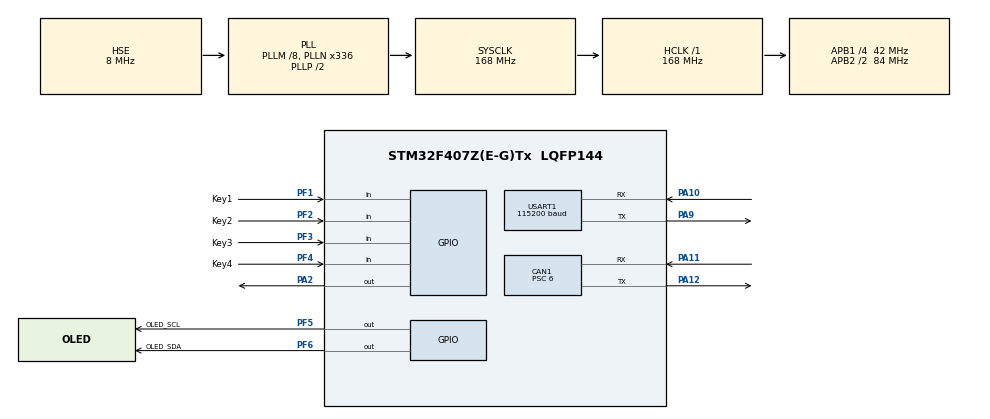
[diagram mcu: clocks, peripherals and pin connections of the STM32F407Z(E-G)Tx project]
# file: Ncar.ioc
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CAN1.ABOM=ENABLE
CAN1.BS1=CAN_BS1_11TQ
CAN1.BS2=CAN_BS2_2TQ
CAN1.CalculateBaudRate=500000
CAN1.CalculateTimeBit=2000
CAN1.CalculateTimeQuantum=142.85714285714286
CAN1.Mode=CAN_MODE_NORMAL
CAN1.NART=ENABLE
CAN1.Prescaler=6
FREERTOS.Mutexes01=FlashMutex,Dynamic,NULL
FREERTOS.Tasks01=CanRxTask,32,256,StartCanRxTask,Default,NULL,Dynamic,NULL,NULL;CanProcessTask,24,256,StartCanProcessTask,Default,NULL,Dynamic,NULL,NULL;CanTxTask,16,256,StartCanTxTask,Default,NULL,Dynamic,NULL,NULL;UartRxTask,16,256,StartUartRxTask,Default,NULL,Dynamic,NULL,NULL
Mcu.Family=STM32F4
Mcu.Name=STM32F407Z(E-G)Tx
Mcu.Package=LQFP144
NVIC.CAN1_RX0_IRQn=true\:5\:0\:false\:false\:true\:true\:true\:true\:true
NVIC.PriorityGroup=NVIC_PRIORITYGROUP_4
NVIC.TIM1_UP_TIM10_IRQn=true\:15\:0\:false\:false\:true\:false\:false\:true\:true
NVIC.TimeBase=TIM1_UP_TIM10_IRQn
NVIC.TimeBaseIP=TIM1
NVIC.USART1_IRQn=true\:5\:0\:false\:false\:true\:true\:true\:true\:true
PA10.Mode=Asynchronous
PA10.Signal=USART1_RX
PA11.GPIO_PuPd=GPIO_PULLUP
PA11.Mode=CAN_Activate
PA11.Signal=CAN1_RX
PA12.Mode=CAN_Activate
PA12.Signal=CAN1_TX
PA13.Mode=Serial_Wire
PA13.Signal=SYS_JTMS-SWDIO
PA14.Mode=Serial_Wire
PA14.Signal=SYS_JTCK-SWCLK
PA2.GPIO_PuPd=GPIO_PULLDOWN
PA2.GPIO_Speed=GPIO_SPEED_FREQ_HIGH
PA2.Signal=GPIO_Output
PA9.Mode=Asynchronous
PA9.Signal=USART1_TX
PF1.GPIO_Label=Key1
PF1.GPIO_PuPd=GPIO_PULLUP
PF1.Signal=GPIO_Input
PF2.GPIO_Label=Key2
PF2.GPIO_PuPd=GPIO_PULLUP
PF2.Signal=GPIO_Input
PF3.GPIO_Label=Key3
PF3.GPIO_PuPd=GPIO_PULLUP
PF3.Signal=GPIO_Input
PF4.GPIO_Label=Key4
PF4.GPIO_PuPd=GPIO_PULLUP
PF4.Signal=GPIO_Input
PF5.GPIO_Label=OLED_SCL
PF5.Signal=GPIO_Output
PF6.GPIO_Label=OLED_SDA
PF6.Signal=GPIO_Output
PH0-OSC_IN.Mode=HSE-External-Oscillator
PH0-OSC_IN.Signal=RCC_OSC_IN
PH1-OSC_OUT.Mode=HSE-External-Oscillator
PH1-OSC_OUT.Signal=RCC_OSC_OUT
ProjectManager.HeapSize=0x200
ProjectManager.StackSize=0x400
ProjectManager.TargetToolchain=MDK-ARM V5.32
RCC.48MHZClocksFreq_Value=84000000
RCC.AHBFreq_Value=168000000
RCC.APB1CLKDivider=RCC_HCLK_DIV4
RCC.APB1Freq_Value=42000000
RCC.APB1TimFreq_Value=84000000
RCC.APB2CLKDivider=RCC_HCLK_DIV2
RCC.APB2Freq_Value=84000000
RCC.APB2TimFreq_Value=168000000
RCC.CortexFreq_Value=168000000
RCC.HCLKFreq_Value=168000000
RCC.HSE_VALUE=8000000
RCC.HSI_VALUE=16000000
RCC.LSE_VALUE=32768
RCC.PLLM=8
RCC.PLLN=336
RCC.PLLSourceVirtual=RCC_PLLSOURCE_HSE
RCC.SYSCLKFreq_VALUE=168000000
RCC.SYSCLKSource=RCC_SYSCLKSOURCE_PLLCLK
RCC.VCOOutputFreq_Value=336000000
USART1.BaudRate=115200
USART1.VirtualMode=VM_ASYNC
VP_FREERTOS_VS_CMSIS_V2.Mode=CMSIS_V2
VP_SYS_VS_tim1.Mode=TIM1
board=custom

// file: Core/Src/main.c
/* USER CODE BEGIN Header */
/**
  ******************************************************************************
  * @file           : main.c
  * @brief          : Main program body
  ******************************************************************************
  * @attention
  *
  * Copyright (c) 2026 STMicroelectronics.
  * All rights reserved.
  *
  * This software is licensed under terms that can be found in the LICENSE file
  * in the root directory of this software component.
  * If no LICENSE file comes with this software, it is provided AS-IS.
  *
  ******************************************************************************
  */
/* USER CODE END Header */
#include "main.h"
#include "cmsis_os.h"
#include "can.h"
#include "usart.h"
#include "gpio.h"

/* USER CODE BEGIN Includes */

#include "cmsis_os.h"              /* ★ CMSIS-RTOS2 的队列 API */
#include <string.h>                /* ★ memcpy */

extern osMessageQueueId_t CanRxQueueHandle;   /* ★ 队列句柄(在 freertos.c 里定义) */

/* USER CODE END Includes */

void SystemClock_Config(void);
void MX_FREERTOS_Init(void);

int main(void)
{

  /* MCU Configuration--------------------------------------------------------*/

  /* Reset of all peripherals, Initializes the Flash interface and the Systick. */
  HAL_Init();

  /* Configure the system clock */
  SystemClock_Config();

  /* Initialize all configured peripherals */
  MX_GPIO_Init();
  MX_CAN1_Init();
  MX_USART1_UART_Init();
  /* USER CODE BEGIN 2 */

	/* ★★★ 自己建 CAN 接收队列 (不用 CubeMX 生成的, 免得被 Generate 覆盖) */
	osMessageQueueId_t CanRxQueueHandle = NULL;

	static const osMessageQueueAttr_t CanRxQueue_attr = {
		.name = "CanRxQueue"
	};
	CanRxQueueHandle = osMessageQueueNew(16,              /* 16 条 */
										 sizeof(CanFrame_t),  /* ★ 每条 16 字节 ? */
										 &CanRxQueue_attr);
	if (CanRxQueueHandle == NULL)
	{
		Error_Handler();      /* 建队列失败 */
	}

  /* USER CODE END 2 */

  /* Init scheduler */
  osKernelInitialize();

  /* Call init function for freertos objects (in cmsis_os2.c) */
  MX_FREERTOS_Init();

  /* Start scheduler */
  osKernelStart();

  /* We should never get here as control is now taken by the scheduler */

  /* Infinite loop */
  while (1)
  {

  }
}

void SystemClock_Config(void)
{
  RCC_OscInitTypeDef RCC_OscInitStruct = {0};
  RCC_ClkInitTypeDef RCC_ClkInitStruct = {0};

  /** Configure the main internal regulator output voltage
  */
  __HAL_RCC_PWR_CLK_ENABLE();
  __HAL_PWR_VOLTAGESCALING_CONFIG(PWR_REGULATOR_VOLTAGE_SCALE1);

  /** Initializes the RCC Oscillators according to the specified parameters
  * in the RCC_OscInitTypeDef structure.
  */
  RCC_OscInitStruct.OscillatorType = RCC_OSCILLATORTYPE_HSE;
  RCC_OscInitStruct.HSEState = RCC_HSE_ON;
  RCC_OscInitStruct.PLL.PLLState = RCC_PLL_ON;
  RCC_OscInitStruct.PLL.PLLSource = RCC_PLLSOURCE_HSE;
  RCC_OscInitStruct.PLL.PLLM = 8;
  RCC_OscInitStruct.PLL.PLLN = 336;
  RCC_OscInitStruct.PLL.PLLP = RCC_PLLP_DIV2;
  RCC_OscInitStruct.PLL.PLLQ = 4;
  if (HAL_RCC_OscConfig(&RCC_OscInitStruct) != HAL_OK)
  {
    Error_Handler();
  }

  /** Initializes the CPU, AHB and APB buses clocks
  */
  RCC_ClkInitStruct.ClockType = RCC_CLOCKTYPE_HCLK|RCC_CLOCKTYPE_SYSCLK
                              |RCC_CLOCKTYPE_PCLK1|RCC_CLOCKTYPE_PCLK2;
  RCC_ClkInitStruct.SYSCLKSource = RCC_SYSCLKSOURCE_PLLCLK;
  RCC_ClkInitStruct.AHBCLKDivider = RCC_SYSCLK_DIV1;
  RCC_ClkInitStruct.APB1CLKDivider = RCC_HCLK_DIV4;
  RCC_ClkInitStruct.APB2CLKDivider = RCC_HCLK_DIV2;

  if (HAL_RCC_ClockConfig(&RCC_ClkInitStruct, FLASH_LATENCY_5) != HAL_OK)
  {
    Error_Handler();
  }
}

void HAL_TIM_PeriodElapsedCallback(TIM_HandleTypeDef *htim)
{
  if (htim->Instance == TIM1) {
    HAL_IncTick();
  }
}

void Error_Handler(void)
{
  __disable_irq();
  while (1)
  {
  }
}

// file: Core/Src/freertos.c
/* USER CODE BEGIN Header */
/**
  ******************************************************************************
  * File Name          : freertos.c
  * Description        : Code for freertos applications
  ******************************************************************************
  * @attention
  *
  * Copyright (c) 2026 STMicroelectronics.
  * All rights reserved.
  *
  * This software is licensed under terms that can be found in the LICENSE file
  * in the root directory of this software component.
  * If no LICENSE file comes with this software, it is provided AS-IS.
  *
  ******************************************************************************
  */
/* USER CODE END Header */

#include "FreeRTOS.h"
#include "task.h"
#include "main.h"
#include "cmsis_os.h"

/* USER CODE BEGIN Includes */
#include "can.h"        /* ★ 提供 hcan1 的声明 */
#include "MYUSART.h"    /* ★ 提供 Serial_Printf —— ★ 函数名按你 MYUSART.h 里实际的来 */

extern CAN_HandleTypeDef hcan1;   /* ★ 引用 can.c 里定义的那个 CAN 句柄 */

extern UART_HandleTypeDef huart1;   /* ★ 引用 usart.c 里定义的串口句柄 */

/* USER CODE END Includes */

/* USER CODE BEGIN PD */

#define NODE_ID   2

/* USER CODE END PD */

/* USER CODE BEGIN Variables */

osMessageQueueId_t CanRxQueueHandle = NULL;     /* ★★★ CAN 接收队列句柄 */

osMessageQueueId_t CanProcQueueHandle = NULL;   /* ★★★ 新增: 处理队列句柄 (CanRxTask → CanProcessTask) */

/* ★★★ ACK 接收状态 —— CanProcessTask 写 / CanTxTask 读 */
volatile uint8_t  g_ackCount  = 0;      /* 累计收到多少个 ACK */
volatile uint8_t  g_ackStatus = 0xFF;   /* 最新 ACK 的结果 (1=成功,0=失败,0xFF=还没收到) */
volatile uint16_t g_ackFrames = 0;      /* 最新 ACK 报的"已收帧数" */

/* ═══════════════════════════════════════════════════════════════
   ★★★ 母机的「固件暂存区」（PC 通过串口下发到这里，再 CAN 转发给子机）

   为什么放 0x08080000:
        · 母机 APP 只占 0x08000000 ~ 0x0807FFFF（512KB，够用）
        · 后半 512KB 空着，划给固件暂存
        必须和 Keil 的 IROM1 Size = 0x00080000 配套改（已完成）

   布局（和子机 B 区同一套思路）:
        +0x0000 ~ +0xFE00    固件数据（最多 65024 字节）
        +0xFF00              魔数（证明固件完整）
        +0xFF04              固件长度（掉电重启后要用）
   ═══════════════════════════════════════════════════════════════ */
#define FW_STORE_ADDR     0x08080000U          /* Sector 8 起点 */
#define FW_STORE_SECTOR   FLASH_SECTOR_8       /* ★ 0x08080000 落在 Sector 8 */
#define FW_STORE_SECTORS  4U                   /* Sector 8~11 = 512KB */
#define FW_MAGIC_ADDR     (FW_STORE_ADDR + 0xFF00U)   /* 魔数 = 0x0808FF00 */
#define FW_LEN_ADDR       (FW_STORE_ADDR + 0xFF04U)   /* 长度 = 0x0808FF04 */
#define FW_MAGIC_VAL      0x5AA5C33CU
#define FW_MAX_LEN        0x0000FE00U          /* 最大 65024 字节（与子机一致） */

/* ═══════════════════════════════════════════════════════════════
   ★★★ PC 下发固件：串口接收状态机

   帧格式（PC → 母机）:
        ┌──────┬──────┬──────────────┬─────────────┐
        │ 0xAA │ 0x55 │  长度 4字节   │  固件数据    │
        │ 帧头1 │ 帧头2 │   (小端)     │  N 字节      │
        └──────┴──────┴──────────────┴─────────────┘
   为什么要帧头: 万一 PC 多按一次发送/数据错位，能重新同步
   为什么先收 RAM 再写 Flash: 子机踩过的坑 —— 边收边写时，
        擦除的 2 秒里数据全丢；所以先收完整再落盘
   ═══════════════════════════════════════════════════════════════ */
#define UART_ST_WAIT_HEAD1   0U     /* 等 0xAA */
#define UART_ST_WAIT_HEAD2   1U     /* 等 0x55 */
#define UART_ST_WAIT_LEN     2U     /* 收 4 字节长度 */
#define UART_ST_WAIT_DATA    3U     /* 收固件数据 */
#define UART_ST_WAIT_CRC     4U     /* ★ 等 4 字节 CRC32 */

static uint8_t  g_fwBufDown[FW_MAX_LEN];   /* ★ 65KB RAM 缓冲（.bss，不占 Flash） */
static uint32_t g_fwDownLen   = 0U;        /* 本包应该收多少字节 */
static uint32_t g_fwDownGot   = 0U;        /* 已经收了多少字节 */
static uint8_t  g_uartState   = UART_ST_WAIT_HEAD1;
static uint8_t  g_lenBuf[4];               /* 暂存 4 字节长度 */
static uint8_t  g_lenIdx = 0U;     /* ★ 当前收到第几个字节（0~3）*/

volatile uint8_t g_uartRxByte  = 0U;       /* ★ 必须是全局/静态：
                                              HAL_UART_Receive_IT 是异步的，
                                              它只记下地址，中断来了才往里写 */
volatile uint8_t g_fwDownReady = 0U;       /* 1 = 收完一包，等 UartRxTask 落盘 */
volatile uint32_t g_fwCrcRecv = 0U;   /* ★ PC 发来的 CRC32（回调写，任务读） */

/* USER CODE END Variables */
/* Definitions for CanRxTask */
osThreadId_t CanRxTaskHandle;
const osThreadAttr_t CanRxTask_attributes = {
  .name = "CanRxTask",
  .stack_size = 256 * 4,
  .priority = (osPriority_t) osPriorityAboveNormal,
};
/* Definitions for CanProcessTask */
osThreadId_t CanProcessTaskHandle;
const osThreadAttr_t CanProcessTask_attributes = {
  .name = "CanProcessTask",
  .stack_size = 256 * 4,
  .priority = (osPriority_t) osPriorityNormal,
};
/* Definitions for CanTxTask */
osThreadId_t CanTxTaskHandle;
const osThreadAttr_t CanTxTask_attributes = {
  .name = "CanTxTask",
  .stack_size = 256 * 4,
  .priority = (osPriority_t) osPriorityBelowNormal,
};
/* Definitions for UartRxTask */
osThreadId_t UartRxTaskHandle;
const osThreadAttr_t UartRxTask_attributes = {
  .name = "UartRxTask",
  .stack_size = 256 * 4,
  .priority = (osPriority_t) osPriorityBelowNormal,
};
/* Definitions for FlashMutex */
osMutexId_t FlashMutexHandle;
const osMutexAttr_t FlashMutex_attributes = {
  .name = "FlashMutex"
};

/* USER CODE BEGIN FunctionPrototypes */

/* ★★★ 等 ACK: 在超时内等到"新的 ACK"就返回 1, 超时返回 0
        · lastCount = 发帧之前先记下的 g_ackCount
        · 每 10ms 查一次; 用 osDelay(10) 让出 CPU —— 不能忙等,
          否则 CanProcessTask 永远排不上, g_ackCount 也就永远不变 */
static uint8_t WaitAck(uint8_t lastCount, uint32_t timeoutMs)
{
    uint32_t t0 = HAL_GetTick();

    while ((HAL_GetTick() - t0) < timeoutMs)
    {
        if (g_ackCount != lastCount)      /* ★ 计数变了 = 有新 ACK */
        {
            return RES_OK;    /* ★ 等到 = 成功 (全项目统一 0=成功) */
        }

        osDelay(10);                      /* ★ 让出 CPU, 别忙等 */
    }

    return RES_FAIL;                      /* ★ 超时 = 失败 */
}

/* ★ 原型声明：实现写在文件末尾（USER CODE Application 区），
      但 StartUartRxTask 在前面要调用它 → 必须先声明 */
static uint32_t Flash_SaveFirmware(uint32_t len);
/* ★ CRC32（标准 IEEE 802.3）—— 用于校验 PC 下发的固件 */
static uint32_t Crc32_Calc(const uint8_t *p, uint32_t len);

/* USER CODE END FunctionPrototypes */

void StartCanRxTask(void *argument);
void StartCanProcessTask(void *argument);
void StartCanTxTask(void *argument);
void StartUartRxTask(void *argument);

void MX_FREERTOS_Init(void); /* (MISRA C 2004 rule 8.1) */

void MX_FREERTOS_Init(void) {
  /* Create the mutex(es) */
  /* creation of FlashMutex */
  FlashMutexHandle = osMutexNew(&FlashMutex_attributes);

  /* USER CODE BEGIN RTOS_QUEUES */
    /* add queues, ... */

    /* ★★★ 自己建 CAN 接收队列 (不用 CubeMX 生成的, 免得 Item Size 不对) */
    {
        static const osMessageQueueAttr_t CanRxQueue_attr = { .name = "CanRxQueue" };
        CanRxQueueHandle = osMessageQueueNew(16,                   /* 16 条 */
                                             sizeof(CanFrame_t),   /* ★ 每条 = 16 字节 ? */
                                             &CanRxQueue_attr);

        if (CanRxQueueHandle == NULL)
        {
            Error_Handler();
        }
    }

    /* ★★★ 再建一个 CAN 处理队列 (CanRxTask → CanProcessTask) */
    {
        static const osMessageQueueAttr_t CanProcQueue_attr = { .name = "CanProcQueue" };
        CanProcQueueHandle = osMessageQueueNew(16,                   /* 16 条 */
                                               sizeof(CanFrame_t),   /* ★ 每条 = 16 字节 */
                                               &CanProcQueue_attr);

        if (CanProcQueueHandle == NULL)
        {
            Error_Handler();
        }
    }

  /* USER CODE END RTOS_QUEUES */

  /* Create the thread(s) */
  /* creation of CanRxTask */
  CanRxTaskHandle = osThreadNew(StartCanRxTask, NULL, &CanRxTask_attributes);

  /* creation of CanProcessTask */
  CanProcessTaskHandle = osThreadNew(StartCanProcessTask, NULL, &CanProcessTask_attributes);

  /* creation of CanTxTask */
  CanTxTaskHandle = osThreadNew(StartCanTxTask, NULL, &CanTxTask_attributes);

  /* creation of UartRxTask */
  UartRxTaskHandle = osThreadNew(StartUartRxTask, NULL, &UartRxTask_attributes);

}

void StartCanRxTask(void *argument)
{
  /* USER CODE BEGIN StartCanRxTask */
    CanFrame_t frame;                    /* ★ 每次循环复用这块局部内存 */

    for(;;)
    {
        /* ★ 阻塞等 CanRxQueue (最长 1000ms) —— 没帧就睡着, 不占 CPU */
        if (osMessageQueueGet(CanRxQueueHandle, &frame, NULL, 1000) == osOK)
        {
            /* ★★ 校验 CRC8: 整帧 8 字节算一遍, 应该 = 0 */
            if (CAN_CalcCRC8(frame.data, 8) == 0)
            {
                /* ★★★ 校验通过 → 投到处理队列
                   (★ 这里是【任务】不是中断, 用普通版 osMessageQueuePut 就行) */
                osMessageQueuePut(CanProcQueueHandle, &frame, 0, 0);
            }

            /* ★★★★ 校验失败 → 直接丢弃, 不往后续传坏数据 */
        }
    }

  /* USER CODE END StartCanRxTask */
}

void StartCanProcessTask(void *argument)
{
  /* USER CODE BEGIN StartCanProcessTask */
    CanFrame_t frame;

    for(;;)
    {
        /* ★ 阻塞等 CanProcQueue (★ CRC8 已在 CanRxTask 校验过) */
        if (osMessageQueueGet(CanProcQueueHandle, &frame, NULL, 1000) == osOK)
        {
            uint8_t func  = frame.data[PROTO_POS_FUNC];      /* 功能码 */
            uint8_t rxSeq = frame.data[PROTO_POS_SEQ];       /* 序号 */

            /* ★★ 按功能码分发 */
            switch (func)
            {
                case FUNC_HEARTBEAT:                            /* ★ 心跳 */
                    Serial_Printf("★ [心跳] ID=0x%03X 序号=%d\r\n", frame.id, rxSeq);
                    break;

                case FUNC_TEMP:                                 /* ★ 温度 (示例, 以后用) */
                    Serial_Printf("★ [温度] ID=0x%03X 序号=%d 值=%d.%d C\r\n",
                                  frame.id, rxSeq,
                                  frame.data[PROTO_POS_DATA + 0],
                                  frame.data[PROTO_POS_DATA + 1]);
                    break;

                case FUNC_CMD:                                  /* ★ 命令 (示例, 以后用) */
                    Serial_Printf("★ [命令] ID=0x%03X 序号=%d 命令码=0x%02X\r\n",
                                  frame.id, rxSeq, frame.data[PROTO_POS_DATA + 0]);
                    break;

                case FUNC_UP_ACK:                               /* ★★★ 子机回的 ACK */
                {
                    uint8_t  who    = (uint8_t)(frame.id & 0xFFU);   /* 0x201 → 节点 1 */
                    uint8_t  status = frame.data[1];                 /* ★ 结果: 1=成功, 0=失败 */
                    uint16_t frames = (uint16_t)(frame.data[2] | (frame.data[3] << 8));

                    g_ackStatus = status;          /* ★ 新增 */
                    g_ackFrames = frames;          /* ★ 新增 */
                    g_ackCount++;                  /* ★ 新增: 【通知 TxTask 有新的了】*/

                    Serial_Printf("★ [UP-ACK] 节点%u 结果=%s 已收%u帧\r\n",
                                  (unsigned)who,
                                  (status == RES_OK) ? "成功" : "失败",
                                  (unsigned)frames);
                    break;
                }

                default:                                        /* ★ 未知功能码 */
                    Serial_Printf("! 未知功能码 0x%02X (ID=0x%03X)\r\n", func, frame.id);
                    break;
            }
        }
    }

  /* USER CODE END StartCanProcessTask */
}

void StartCanTxTask(void *argument)
{
  /* USER CODE BEGIN StartCanTxTask */

    CAN_TxHeaderTypeDef TxHeader;
    uint8_t  TxData[8];
    uint32_t TxMailbox;
    uint32_t i = 0;
    uint16_t seq = 0;

#define UP_SEND_ID    0x101U     /* ★★★ 【发给子机】—— 子机的号是 0x101 */

    /* 帧头填一次就好（每帧都一样，不用重复填） */
    TxHeader.StdId = UP_ID_DATA_BASE + UP_TARGET_ID;
    TxHeader.ExtId = 0;
    TxHeader.IDE   = CAN_ID_STD;
    TxHeader.RTR   = CAN_RTR_DATA;
    TxHeader.DLC   = 8;
    TxHeader.TransmitGlobalTime = DISABLE;

    for(;;)
    {
        if(HAL_GPIO_ReadPin(GPIOF, GPIO_PIN_2) == 1)
        {
            osDelay(100);
        }
        else
        {
            uint8_t  c;
            uint32_t fwLen;                        /* ★ 运行时从 Flash 读到的长度 */
            uint32_t magic;                        /* ★ 魔数 */
            const uint8_t *fw;                     /* ★ 指向 Flash 暂存区 */
			uint32_t txFail = 0U;                  /* ★ DATA 帧发送失败的次数 */

			/* ★★★ 加锁：独占 Flash 暂存区
               为什么【在检查之前】就加锁:
                 · 魔数和长度都在 Flash 里
                 · 如果先检查再锁，"检查通过"和"开始发送"之间
                   可能被 UartRxTask 插进来擦除 → 读到垃圾 ??
               为什么超时 3000ms 而不是 osWaitForever:
                 · 正常情况下 UartRxTask 擦写约 1 秒
                 · 3 秒拿不到 = 一定有问题，提示用户比死等好 */
            if (osMutexAcquire(FlashMutexHandle, 3000U) != osOK)
            {
                Serial_Printf("[TX] Flash 正忙(可能正在接收新固件), 1秒后重试\r\n");
                osDelay(1000);
                continue;                  /* ★ 没拿到锁 → 不需要释放 */
            }

            /* ═══ ? 先检查 Flash 里到底有没有固件 ═══
               为什么必须先查:
                 没有这个检查，按 Key1 就会发一份【全 0xFF 的垃圾】给子机，
                 子机校验失败、停在 BL —— 用户会以为"升级失败"，
                 其实是"母机根本没固件" */
            magic = *(volatile uint32_t *)FW_MAGIC_ADDR;

            if (magic != FW_MAGIC_VAL)
            {
                Serial_Printf("[TX] Flash 里没有固件(魔数=%08X), 请先用 PC 下发\r\n",
                              (unsigned int)magic);
				osMutexRelease(FlashMutexHandle);      /* ★★★ 提前返回必须释放 */
                osDelay(1000);
                continue;                          /* 回 for 开头等按键 */
            }

            fwLen = *(volatile uint32_t *)FW_LEN_ADDR;

            if (fwLen < 1024U || fwLen > FW_MAX_LEN)
            {
                Serial_Printf("[TX] 固件长度异常 %u, 拒绝发送\r\n", (unsigned int)fwLen);
				osMutexRelease(FlashMutexHandle);      /* ★★★ 提前返回必须释放 */
                osDelay(1000);
                continue;
            }

            Serial_Printf("[TX] 从 Flash 读固件: %u 字节\r\n", (unsigned int)fwLen);

            fw = (const uint8_t *)FW_STORE_ADDR;   /* ★ Flash 当数组用 */

            /* ═══ ① START: 报总长度（失败自动重试 3 次）═══
               为什么要重试:
                 · 按 Key1 时子机可能还没进 BL（10 秒窗口内 / 刚上电）
                 · 只试一次的话，用户看到"无应答"就以为坏了
                 · 3 次 × (2s 等待 + 0.5s 间隔) ≈ 7.5 秒，够子机进 BL
               为什么每次都要重新取 c = g_ackCount:
                 · 重试之间可能收到上一次的迟到 ACK
                 · 不重新记账的话，WaitAck 可能立刻误判"收到"*/
            {
                uint8_t startTries = 0U;
                uint8_t started    = 0U;

                /* 帧内容只填一次（数据不变，不用每次重算） */
                TxData[0] = FUNC_UP_START;
                TxData[1] = (uint8_t)(fwLen & 0xFF);
                TxData[2] = (uint8_t)((fwLen >> 8) & 0xFF);
                TxData[3] = (uint8_t)((fwLen >> 16) & 0xFF);
                TxData[4] = (uint8_t)((fwLen >> 24) & 0xFF);
                TxData[5] = 0;
                TxData[6] = 0;
                TxData[7] = CAN_CalcCRC8(TxData, 7);

                while (startTries < 3U)
                {
                    startTries++;

					/* ★★★ Bus-Off 检测与恢复
                       为什么需要:
                         · CAN 配了 AutoBusOff=ENABLE，但硬件要求
                           "检测到 128×11 个连续隐性位"才自动退出
                         · 总线上只有自己（子机没上电/没进 BL）→ 永远检测不到
                           → 永久卡在 Bus-Off，只能重启板子 ??
                       为什么 Stop+Start 能恢复:
                         · HAL_CAN_Stop 置 MCR.INRQ=1 → 进入【初始化模式】
                         · 初始化模式会强制清掉 Bus-Off 状态
                         · HAL_CAN_Start 再置 INRQ=0 → 回到正常模式 */
                    if ((hcan1.Instance->ESR & CAN_ESR_BOFF) != 0U)
                    {
                        Serial_Printf("[TX] ★ CAN 处于 Bus-Off(ESR=%08X), 主动重启...\r\n",
                                      (unsigned int)hcan1.Instance->ESR);

                        HAL_CAN_Stop(&hcan1);
                        osDelay(20);
                        HAL_CAN_Start(&hcan1);
                        osDelay(20);

                        Serial_Printf("[TX] CAN 已重启, ESR=%08X TEC=%u\r\n",
                                      (unsigned int)hcan1.Instance->ESR,
                                      (unsigned int)((hcan1.Instance->ESR >> 16) & 0xFFU));
                    }

                    c = g_ackCount;        /* ★ 每次重试都重新记账 */

                    if (HAL_CAN_AddTxMessage(&hcan1, &TxHeader, TxData, &TxMailbox) != HAL_OK)
                    {
                        Serial_Printf("! START 发送失败 (第%u次) ErrorCode=%08X TSR=%08X\r\n",
                                      (unsigned int)startTries,
                                      (unsigned int)hcan1.ErrorCode,
                                      (unsigned int)hcan1.Instance->TSR);
                    }

                    osDelay(5);

                    if (WaitAck(c, 2000U) == RES_OK)
                    {
                        started = 1U;
                        break;             /* ★ 收到 ACK，跳出重试 */
                    }

                    Serial_Printf("! START 第 %u 次无应答\r\n", (unsigned int)startTries);
                    osDelay(500);          /* ★ 给子机一点时间进 BL */
                }

                if (started == 0U)
                {
                    Serial_Printf("! START 连续 3 次无应答 请确认: 子机是否已按 Key1 进入 BL\r\n");
                    osMutexRelease(FlashMutexHandle);   /* ★★★ 必须释放 */
                    osDelay(1000);
                    continue;              /* 回 for 开头等按键 */
                }
            }

            /* ═══ ② DATA × N: 每帧 4 字节 ═══ */
            seq = 0;

            for (i = 0; i < fwLen; i += 4U)                   /* ★ 改成 fwLen */
            {
                TxData[0] = FUNC_UP_DATA;
                TxData[1] = (uint8_t)(seq & 0xFF);
                TxData[2] = (uint8_t)(seq >> 8);
                TxData[3] = fw[i + 0U];                       /* ★ 从 Flash 读 */
                TxData[4] = fw[i + 1U];
                TxData[5] = fw[i + 2U];
                TxData[6] = fw[i + 3U];
                TxData[7] = CAN_CalcCRC8(TxData, 7);

				/* ★ 失败只计数，不逐帧打印 —— 7098 帧刷屏会拖垮串口
                   失败通常是"3 个发送邮箱都满"，等一下自然会恢复 */
                if (HAL_CAN_AddTxMessage(&hcan1, &TxHeader, TxData, &TxMailbox) != HAL_OK)
                {
                    txFail++;
                }

                seq++;
                osDelay(1);

            }
			            /* ═══ ③ END: 报总帧数 ═══ */
            c = g_ackCount;                        /* ★ 先记账 */

            TxData[0] = FUNC_UP_END;
            TxData[1] = (uint8_t)(seq & 0xFF);     /* 总帧数, 小端 */
            TxData[2] = (uint8_t)(seq >> 8);
            TxData[3] = 0;
            TxData[4] = 0;
            TxData[5] = 0;
            TxData[6] = 0;
            TxData[7] = CAN_CalcCRC8(TxData, 7);
			/* ★★★ END 是关键帧，值得重试
               为什么:
                 END 丢了 → 子机永远收不到结束信号 →
                 等 10 秒超时 → 整轮 35 秒白跑 ??
               为什么只重试 3 次:
                 每帧 CAN 只要 ~230μs，3 次 + osDelay(2) 才 ~6ms
                 再多就是总线真有问题了 */
            {
                uint8_t tries = 0U;

                while (HAL_CAN_AddTxMessage(&hcan1, &TxHeader, TxData, &TxMailbox) != HAL_OK)
                {
                    tries++;

                    if (tries >= 3U)
                    {
                        Serial_Printf("! END 帧发送失败 %u 次 (ErrorCode=%08X)\r\n",
                                      (unsigned int)tries,
                                      (unsigned int)hcan1.ErrorCode);
                        break;
                    }

                    osDelay(2);      /* ★ 等邮箱空出来再试 */
                }
            }

            /* ★★★ 等子机"写完了"的最终 ACK
               子机收到 END 后会: 擦 B 区(0.5s) → 写(0.7s) → 校验 → 搬运到 A 区
               总共约 2 秒，15 秒超时绰绰有余 */
            if (WaitAck(c, 15000U) == RES_OK)
            {
                Serial_Printf("★★ 子机确认: 结果=%s 已收%u帧 —— 本轮完成!\r\n",
                              (g_ackStatus == RES_OK) ? "成功" : "失败",
                              (unsigned int)g_ackFrames);
            }
            else
            {
                Serial_Printf("! END 无应答\r\n");
            }

			/* ★ 汇总本次发送的丢帧情况 */
            if (txFail > 0U)
            {
                Serial_Printf("! 本轮有 %u 帧未发出(邮箱满), 子机会报丢帧\r\n",
                              (unsigned int)txFail);
            }

			/* ★★★ 发送结束，释放 Flash 使用权
               （UartRxTask 现在可以安全地擦写新固件了） */
            osMutexRelease(FlashMutexHandle);

        }
    }

  /* USER CODE END StartCanTxTask */
}

void StartUartRxTask(void *argument)
{
  /* USER CODE BEGIN StartUartRxTask */
    /* ★★★ 第一次"上膛" —— 不调这句，RXNEIE 永远是 0，
         数据到了 RXNE 会置位但不产生中断 → 回调永远进不来 */
    if (HAL_UART_Receive_IT(&huart1, (uint8_t *)&g_uartRxByte, 1U) != HAL_OK)
    {
        Serial_Printf("[PC] 串口接收启动失败!\r\n");
    }
    else
    {
        Serial_Printf("[PC] 串口就绪, 等待 PC 下发固件...\r\n");
    }

    for (;;)
    {

        if (g_fwDownReady != 0U)
        {

			/* ★★★ 加锁：独占 Flash 暂存区
               为什么用 osWaitForever（永久等）:
                 · 数据已经安全收在 RAM 的 g_fwBufDown 里了
                 · 等多久都不会丢 —— 就算 CanTxTask 正在发 35 秒，等它发完再写
                 · 用超时反而会"放弃写入"，白白丢掉一次下发 */
            osMutexAcquire(FlashMutexHandle, osWaitForever);

            g_fwDownReady = 0U;      /* ★ 先清标志：处理期间 PC 若再发一包，能重新置 1 */

            Serial_Printf("[PC] 收到固件 %u 字节, 开始保存...\r\n", (unsigned int)g_fwDownLen);

/* ═══ ★★★ CRC32 校验（串口没有硬件校验，这是唯一的一道闸）═══
               为什么放在任务里而不是回调里:
                 算 28392 字节 × 8 次循环 ≈ 5~10ms，
                 放在中断里会阻塞 CAN 等其它中断 → 可能丢帧 ?? */
            {
                uint32_t crcLocal = Crc32_Calc(g_fwBufDown, g_fwDownLen);

                Serial_Printf("[PC] CRC32: 本地=%08X 收到=%08X\r\n",
                              (unsigned int)crcLocal, (unsigned int)g_fwCrcRecv);

                if (crcLocal != g_fwCrcRecv)
                {
                    Serial_Printf("[PC] ? CRC32 不匹配! 数据传输出错, 拒绝写 Flash\r\n");
                }
                else if (Flash_SaveFirmware(g_fwDownLen) == RES_OK)
                {
                    Serial_Printf("[PC] ★ 固件已保存! 按 Key1 可升级子机\r\n");
                }
                else
                {
                    Serial_Printf("[PC] 保存失败, 原有固件不受影响\r\n");
                }
            }

            /* ★★★ 释放：无论成功失败都必须放（原有的一行，保持不变） */
            osMutexRelease(FlashMutexHandle);
        }

        osDelay(50);
	}
  /* USER CODE END StartUartRxTask */
}

/* USER CODE BEGIN Application */

/* ═══════════════════════════════════════════════════════════════
   ★★★ CRC32（标准 IEEE 802.3，多项式 0xEDB88320 反射版）

   为什么要自己写:
        · F4 的硬件 CRC 单元多项式是 0x04C11DB7【不反射】，和标准 CRC32 不一致
        · Python 的 zlib.crc32() 用的正是标准 CRC32
        · 两边必须一致 → C 端手写

   为什么在任务里算而不是在中断里:
        · 28392 字节 × 8 次循环 ≈ 5~10ms
        · 中断里跑 10ms 会阻塞 CAN 等其它中断 → 可能丢帧
   ═══════════════════════════════════════════════════════════════ */
static uint32_t Crc32_Calc(const uint8_t *p, uint32_t len)
{
    uint32_t crc = 0xFFFFFFFFU;
    uint32_t i, k;

    for (i = 0U; i < len; i++)
    {
        crc ^= (uint32_t)p[i];

        for (k = 0U; k < 8U; k++)
        {
            if ((crc & 1U) != 0U)
            {
                crc = (crc >> 1) ^ 0xEDB88320U;
            }
            else
            {
                crc >>= 1;
            }
        }
    }

    return ~crc;            /* ★ 标准 CRC32 的最后一步：结果取反 */
}

/* ═══════════════════════════════════════════════════════════════
   ★★★ 串口接收完成回调（每收 1 字节进一次）
         运行在【中断上下文】里，所以:
            · 不能 osDelay / 不能阻塞
            · 不能调 FreeRTOS 的阻塞型 API
            · 只做"搬字节 + 推进状态机"这种微秒级的事
   ═══════════════════════════════════════════════════════════════ */
void HAL_UART_RxCpltCallback(UART_HandleTypeDef *huart)
{
    uint8_t b;

    if (huart->Instance != USART1)
    {
        return;                     /* 不是 USART1 的回调，忽略 */
    }

    b = g_uartRxByte;               /* ★ 先把刚收到的字节取走 */

    /* ★★★ 链式武装：必须在处理数据【之前】重新挂上
       原因: HAL 收满 1 字节后会自动 __HAL_UART_DISABLE_IT(RXNEIE)，
             不重新挂 → 第 2 个字节起永远收不到 */
    HAL_UART_Receive_IT(&huart1, (uint8_t *)&g_uartRxByte, 1U);

    switch (g_uartState)
    {
        /* ─── 等帧头 1: 0xAA ─── */
        case UART_ST_WAIT_HEAD1:
            if (b == 0xAAU)
            {
                g_uartState = UART_ST_WAIT_HEAD2;
            }

            break;

        /* ─── 等帧头 2: 0x55 ─── */
        case UART_ST_WAIT_HEAD2:
            if (b == 0x55U)
            {
                g_uartState = UART_ST_WAIT_LEN;
                g_lenIdx    = 0U;
            }
            else if (b == 0xAAU)
            {
                /* ★ 连续两个 0xAA：当作新的帧头 1，不丢弃 */
                g_uartState = UART_ST_WAIT_HEAD2;
            }
            else
            {
                g_uartState = UART_ST_WAIT_HEAD1;   /* 帧头不对 → 重新找 */
            }

            break;

        /* ─── 收 4 字节长度（小端） ─── */
        case UART_ST_WAIT_LEN:
            g_lenBuf[g_lenIdx] = b;
            g_lenIdx++;

            if (g_lenIdx >= 4U)
            {
                g_lenIdx = 0U;

                g_fwDownLen = (uint32_t)g_lenBuf[0]
                              | ((uint32_t)g_lenBuf[1] << 8)
                              | ((uint32_t)g_lenBuf[2] << 16)
                              | ((uint32_t)g_lenBuf[3] << 24);
                g_fwDownGot = 0U;

                /* ★ 长度合理性检查：太短不是固件，太长装不下 */
                if (g_fwDownLen < 1024U || g_fwDownLen > FW_MAX_LEN)
                {
                    g_uartState = UART_ST_WAIT_HEAD1;   /* 非法 → 丢弃，重找帧头 */
                }
                else
                {
                    g_uartState = UART_ST_WAIT_DATA;
                }
            }

            break;

        /* ─── 收固件数据 ─── */
        case UART_ST_WAIT_DATA:
            if (g_fwDownGot < FW_MAX_LEN)
            {
                g_fwBufDown[g_fwDownGot] = b;
                g_fwDownGot++;
            }

            if (g_fwDownGot >= g_fwDownLen)
            {
                /* ★★★ 数据收完了，但【先别交给任务】—— 后面还有 4 字节 CRC32 */
                g_lenIdx      = 0U;                     /* 复用 g_lenBuf 暂存 */
                g_uartState   = UART_ST_WAIT_CRC;
            }

            break;

			/* ★★★ 收 4 字节 CRC32（小端）—— 只存不解算，算的活交给任务 */
			case UART_ST_WAIT_CRC:
			g_lenBuf[g_lenIdx] = b;
			g_lenIdx++;

			if (g_lenIdx >= 4U)
			{
				g_fwCrcRecv = (uint32_t)g_lenBuf[0]
						| ((uint32_t)g_lenBuf[1] << 8)
						| ((uint32_t)g_lenBuf[2] << 16)
						| ((uint32_t)g_lenBuf[3] << 24);

				g_lenIdx      = 0U;
				g_fwDownReady = 1U;      /* ★ 整包（数据+CRC）收齐了，交给任务 */
				g_uartState   = UART_ST_WAIT_HEAD1;
			}
			break;

        default:
            g_uartState = UART_ST_WAIT_HEAD1;
            break;
    }
}

/* ═══════════════════════════════════════════════════════════════
   ★★★ 把 RAM 里收到的固件写进 Flash 暂存区（0x08080000）

   顺序（和子机、双区同一个原则）:
        擦 → 写 → 校验 → ★【全部通过后才写魔数+长度】
   为什么魔数最后写:
        提前写的话，写到一半失败会出现"魔数有、数据残缺"的假有效，
        下次按 Key1 会发一份坏固件给子机。
   ═══════════════════════════════════════════════════════════════ */
static uint32_t Flash_SaveFirmware(uint32_t len)
{
    uint32_t i, k;
    uint32_t bad     = 0xFFFFFFFFU;
    uint32_t nSectors;
    uint32_t word;
    uint32_t expect;
    uint32_t *pRd;
    FLASH_EraseInitTypeDef er;
    uint32_t secErr  = 0U;

    /* ─── ① 长度检查 ─── */
    if (len < 1024U || len > FW_MAX_LEN)
    {
        Serial_Printf("[PC] 长度异常 %u, 拒绝保存\r\n", (unsigned int)len);
        return RES_FAIL;
    }

    /* ─── ② 算要擦几个扇区（Sector 8~11 都是 128KB，可直接除）─── */
    nSectors = (len + (128U * 1024U) - 1U) / (128U * 1024U);

    if (nSectors == 0U)
    {
        nSectors = 1U;
    }

    if (nSectors > FW_STORE_SECTORS)
    {
        nSectors = FW_STORE_SECTORS;
    }

    /* ═══ ③ 擦除 ═══ */
    Serial_Printf("[PC] 擦除 Sector 8 起 %u 个扇区...\r\n", (unsigned int)nSectors);
    HAL_FLASH_Unlock();

    er.TypeErase    = FLASH_TYPEERASE_SECTORS;
    er.Banks        = FLASH_BANK_1;
    er.Sector       = FW_STORE_SECTOR;
    er.NbSectors    = nSectors;
    er.VoltageRange = FLASH_VOLTAGE_RANGE_3;

    if (HAL_FLASHEx_Erase(&er, &secErr) != HAL_OK)
    {
        HAL_FLASH_Lock();
        Serial_Printf("[PC] 擦除失败 secErr=%08X\r\n", (unsigned int)secErr);
        return RES_FAIL;
    }

    /* ═══ ④ 写入（RAM 缓冲 → Flash，逐 WORD）═══ */
    Serial_Printf("[PC] 写入中...\r\n");

    for (i = 0U; i + 4U <= len; i += 4U)
    {
        word = (uint32_t)g_fwBufDown[i]
               | ((uint32_t)g_fwBufDown[i + 1U] << 8)
               | ((uint32_t)g_fwBufDown[i + 2U] << 16)
               | ((uint32_t)g_fwBufDown[i + 3U] << 24);

        if (HAL_FLASH_Program(FLASH_TYPEPROGRAM_WORD, FW_STORE_ADDR + i, word) != HAL_OK)
        {
            HAL_FLASH_Lock();
            Serial_Printf("[PC] 写入失败 @%u\r\n", (unsigned int)i);
            return RES_FAIL;
        }
    }

    HAL_FLASH_Lock();

    /* ═══ ⑤ 读回校验 ═══ */
    pRd = (uint32_t *)FW_STORE_ADDR;

    for (k = 0U; k + 4U <= len; k += 4U)
    {
        expect = (uint32_t)g_fwBufDown[k]
                 | ((uint32_t)g_fwBufDown[k + 1U] << 8)
                 | ((uint32_t)g_fwBufDown[k + 2U] << 16)
                 | ((uint32_t)g_fwBufDown[k + 3U] << 24);

        if (pRd[k / 4U] != expect)
        {
            bad = k;
            break;
        }
    }

    if (bad != 0xFFFFFFFFU)
    {
        /* ★ 校验失败 → 魔数/长度都不写 → 下次按 Key1 会判"无固件" */
        Serial_Printf("[PC] 校验失败 @%u (魔数未写, 不会发给子机)\r\n", (unsigned int)bad);
        return RES_FAIL;
    }

    /* ═══ ⑥ 校验通过 → 才写魔数 + 长度 ═══ */
    HAL_FLASH_Unlock();

    if (HAL_FLASH_Program(FLASH_TYPEPROGRAM_WORD, FW_MAGIC_ADDR, FW_MAGIC_VAL) != HAL_OK)
    {
        HAL_FLASH_Lock();
        Serial_Printf("[PC] 写魔数失败\r\n");
        return RES_FAIL;
    }

    if (HAL_FLASH_Program(FLASH_TYPEPROGRAM_WORD, FW_LEN_ADDR, len) != HAL_OK)
    {
        HAL_FLASH_Lock();
        Serial_Printf("[PC] 写长度失败\r\n");
        return RES_FAIL;
    }

    HAL_FLASH_Lock();
    return RES_OK;
}

//D:\18_Python\python.exe "D:\CubeMX\RTOS\BL\_agent-notes\send_fw.py" COM10

/* USER CODE END Application */
